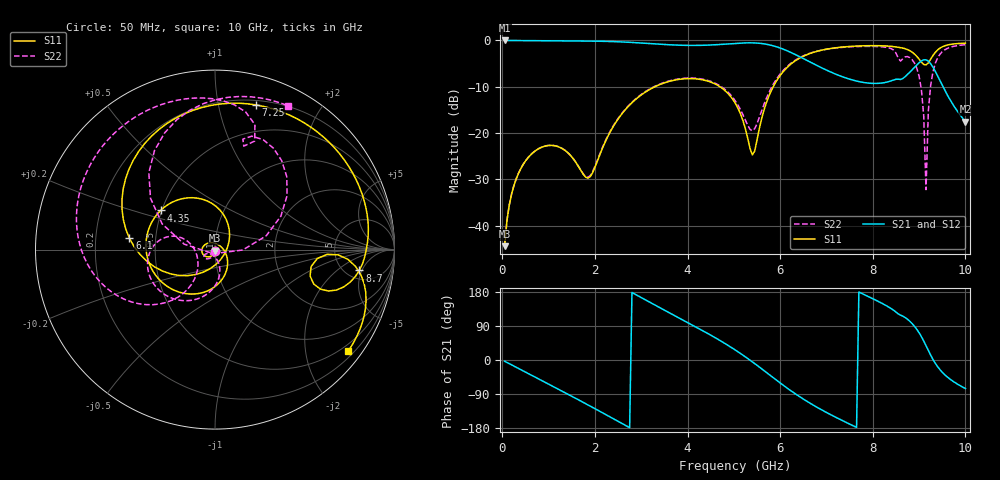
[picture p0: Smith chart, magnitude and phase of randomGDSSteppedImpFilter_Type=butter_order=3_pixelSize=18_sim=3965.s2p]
! freq	dB(S11)	phase(S11)	dB(S12)	phase(S12)
!  dB(S21)	phase(S21)	dB(S22)	phase(S22)
!S-par simulation data
#  GHz  S  DB  R 50
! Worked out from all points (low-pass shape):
!   200 points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, 50 MHz to 10 GHz, reference 50 ohm
!   highest |S21| = -0.01 dB at 50 MHz (marker M1); lowest = -17.5 dB at 10 GHz (marker M2)
!   |S21| within 3 dB of the highest: start of sweep to 6.32 GHz
!   lowest |S11| = -44.4 dB at 50 MHz (marker M3), VSWR 1.01, Z = 50 - j0.602 ohm
!   |S11| at or under -10 dB: start of sweep to 3.294 GHz; 4.7 GHz to 5.85 GHz (1.15 GHz wide, 21.8 % of centre)
!   |S22| runs from -44.4 to -0.9 dB; largest |S21 - S12| = 0
!   S11 on the Smith chart (normalised r, x): 50 MHz: 1.00, -0.01; 4.35 GHz: 0.49, +0.25; 6.1 GHz: 0.35, +0.06; 7.25 GHz: 0.24, +1.29; 8.7 GHz: 6.56, -4.48; 10 GHz: 0.33, -2.92
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0.05  -44.40 -85.4  -0.01 -3.2  -0.01 -3.2  -44.36 -84.3
0.25  -31.37 -107.5  -0.03 -16.0  -0.03 -16.0  -31.32 -102.1
0.65  -24.34 -139.3  -0.07 -41.4  -0.07 -41.4  -24.31 -124.2
1.25  -23.11 170.1  -0.12 -79.6  -0.12 -79.6  -23.09 -150.6
1.75  -28.92 93.1  -0.14 -111.9  -0.14 -111.9  -28.83 -137.4
2.6  -15.63 -74.7  -0.34 -168.5  -0.34 -168.5  -15.51 -83.8
3.4  -9.53 -141.3  -0.82 138.2  -0.82 138.2  -9.43 -122.8
4.35  -8.56 144.2  -1.05 75.9  -1.05 75.9  -8.41 -170.9
5.05  -13.89 76.7  -0.63 24.8  -0.63 24.8  -13.33 160.7
5.4  -24.72 -25.9  -0.53 -4.9  -0.53 -4.9  -19.50 -162.6
6.1  -6.36 172.5  -2.02 -69.6  -2.02 -69.6  -6.12 -141.7
6.7  -2.63 115.0  -4.94 -118.0  -4.94 -118.0  -2.59 -179.4
7.25  -1.54 74.2  -7.48 -154.2  -7.48 -154.2  -1.59 150.1
8.35  -1.24 10.3  -8.88 139.3  -8.88 139.3  -1.62 86.8
8.7  -1.80 -8.2  -7.81 112.1  -7.81 112.1  -3.55 72.0
9.05  -4.69 -19.2  -4.42 61.6  -4.42 61.6  -10.60 15.0
9.1  -5.20 -15.5  -4.19 50.1  -4.19 50.1  -16.24 -0.8
9.15  -5.29 -10.0  -4.19 37.8  -4.19 37.8  -32.19 -111.7
9.2  -4.84 -4.9  -4.47 25.1  -4.47 25.1  -15.18 170.0
9.3  -3.26 -2.4  -5.78 1.5  -5.78 1.5  -6.75 141.5
9.55  -1.18 -15.8  -10.66 -38.4  -10.66 -38.4  -2.06 100.1
10  -0.60 -37.4  -17.52 -75.3  -17.52 -75.3  -0.93 63.1
